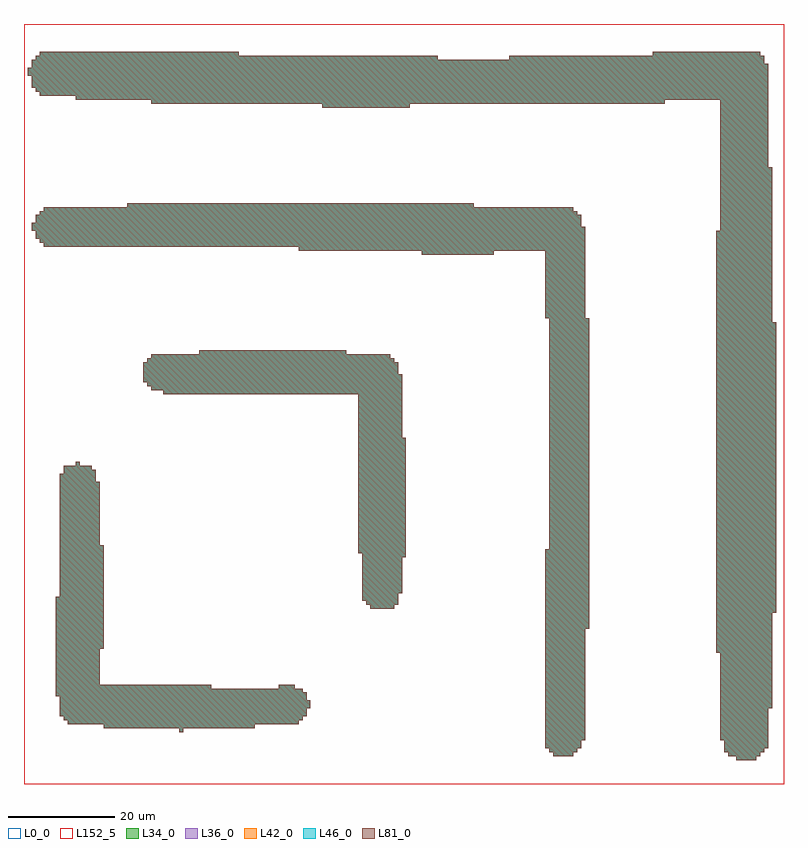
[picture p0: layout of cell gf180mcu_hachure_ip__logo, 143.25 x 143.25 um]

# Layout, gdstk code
import gdstk
lib = gdstk.Library(unit=1e-6, precision=1e-09)
def R(c, l, rs):  # rectangles x0, y0, x1, y1
    for r in rs: c.add(gdstk.rectangle(r[:2], r[2:], *l))
def P(c, l, *ps):  # polygons
    for p in ps: c.add(gdstk.Polygon(p, *l))
L0_0 = (0, 0)
L34_0 = (34, 0)
L36_0 = (36, 0)
L42_0 = (42, 0)
L46_0 = (46, 0)
L81_0 = (81, 0)
L152_5 = (152, 5)

gf180mcu_hachure_ip__log = lib.new_cell('gf180mcu_hachure_ip__logo')
R(gf180mcu_hachure_ip__log, L0_0, [(0,0,143.25,143.25)])
P(gf180mcu_hachure_ip__log, L34_0, [(29.25,9.75),(29.25,10.5),(15,10.5),(15,11.25),(8.25,11.25),(8.25,12),(7.5,12),(7.5,12.75),(6.75,12.75),(6.75,16.5),(6,16.5),(6,35.25),(6.75,35.25),(6.75,58.5),(7.5,58.5),(7.5,60),(9.75,60),(9.75,60.75),(10.5,60.75),(10.5,60),(12.75,60),(12.75,59.25),(13.5,59.25),(13.5,57),(14.25,57),(14.25,45),(15,45),(15,25.5),(14.25,25.5),(14.25,18.75),(35.25,18.75),(35.25,18),(48,18),(48,18.75),(51,18.75),(51,18),(52.5,18),(52.5,17.25),(53.25,17.25),(53.25,15.75),(54,15.75),(54,14.25),(53.25,14.25),(53.25,12.75),(52.5,12.75),(52.5,12),(51.75,12),(51.75,11.25),(43.5,11.25),(43.5,10.5),(30,10.5),(30,9.75)],
  [(65.25,33),(65.25,33.75),(64.5,33.75),(64.5,34.5),(63.75,34.5),(63.75,43.5),(63,43.5),(63,73.5),(26.25,73.5),(26.25,74.25),(24,74.25),(24,75),(23.25,75),(23.25,75.75),(22.5,75.75),(22.5,79.5),(23.25,79.5),(23.25,80.25),(24,80.25),(24,81),(33,81),(33,81.75),(60.75,81.75),(60.75,81),(69,81),(69,80.25),(69.75,80.25),(69.75,79.5),(70.5,79.5),(70.5,77.25),(71.25,77.25),(71.25,65.25),(72,65.25),(72,42.75),(71.25,42.75),(71.25,36),(70.5,36),(70.5,33.75),(69.75,33.75),(69.75,33)],
  [(99.75,5.25),(99.75,6),(99,6),(99,6.75),(98.25,6.75),(98.25,44.25),(99,44.25),(99,87.75),(98.25,87.75),(98.25,100.5),(88.5,100.5),(88.5,99.75),(75,99.75),(75,100.5),(51.75,100.5),(51.75,101.25),(3.75,101.25),(3.75,102),(3,102),(3,102.75),(2.25,102.75),(2.25,104.25),(1.5,104.25),(1.5,105.75),(2.25,105.75),(2.25,107.25),(3,107.25),(3,108),(3.75,108),(3.75,108.75),(19.5,108.75),(19.5,109.5),(84.75,109.5),(84.75,108.75),(103.5,108.75),(103.5,108),(104.25,108),(104.25,107.25),(105,107.25),(105,105),(105.75,105),(105.75,87.75),(106.5,87.75),(106.5,29.25),(105.75,29.25),(105.75,8.25),(105,8.25),(105,6.75),(104.25,6.75),(104.25,6),(103.5,6),(103.5,5.25)],
  [(134.25,4.5),(134.25,5.25),(132.75,5.25),(132.75,6),(132,6),(132,8.25),(131.25,8.25),(131.25,24.75),(130.5,24.75),(130.5,104.25),(131.25,104.25),(131.25,129),(120.75,129),(120.75,128.25),(72.75,128.25),(72.75,127.5),(56.25,127.5),(56.25,128.25),(24,128.25),(24,129),(9.75,129),(9.75,129.75),(3,129.75),(3,130.5),(2.25,130.5),(2.25,131.25),(1.5,131.25),(1.5,133.5),(0.75,133.5),(0.75,135),(1.5,135),(1.5,136.5),(2.25,136.5),(2.25,137.25),(3,137.25),(3,138),(40.5,138),(40.5,137.25),(78,137.25),(78,136.5),(91.5,136.5),(91.5,137.25),(118.5,137.25),(118.5,138),(138.75,138),(138.75,137.25),(139.5,137.25),(139.5,135.75),(140.25,135.75),(140.25,116.25),(141,116.25),(141,87),(141.75,87),(141.75,32.25),(141,32.25),(141,14.25),(140.25,14.25),(140.25,6.75),(139.5,6.75),(139.5,6),(138.75,6),(138.75,5.25),(138,5.25),(138,4.5)])
P(gf180mcu_hachure_ip__log, L36_0, [(29.25,9.75),(29.25,10.5),(15,10.5),(15,11.25),(8.25,11.25),(8.25,12),(7.5,12),(7.5,12.75),(6.75,12.75),(6.75,16.5),(6,16.5),(6,35.25),(6.75,35.25),(6.75,58.5),(7.5,58.5),(7.5,60),(9.75,60),(9.75,60.75),(10.5,60.75),(10.5,60),(12.75,60),(12.75,59.25),(13.5,59.25),(13.5,57),(14.25,57),(14.25,45),(15,45),(15,25.5),(14.25,25.5),(14.25,18.75),(35.25,18.75),(35.25,18),(48,18),(48,18.75),(51,18.75),(51,18),(52.5,18),(52.5,17.25),(53.25,17.25),(53.25,15.75),(54,15.75),(54,14.25),(53.25,14.25),(53.25,12.75),(52.5,12.75),(52.5,12),(51.75,12),(51.75,11.25),(43.5,11.25),(43.5,10.5),(30,10.5),(30,9.75)],
  [(65.25,33),(65.25,33.75),(64.5,33.75),(64.5,34.5),(63.75,34.5),(63.75,43.5),(63,43.5),(63,73.5),(26.25,73.5),(26.25,74.25),(24,74.25),(24,75),(23.25,75),(23.25,75.75),(22.5,75.75),(22.5,79.5),(23.25,79.5),(23.25,80.25),(24,80.25),(24,81),(33,81),(33,81.75),(60.75,81.75),(60.75,81),(69,81),(69,80.25),(69.75,80.25),(69.75,79.5),(70.5,79.5),(70.5,77.25),(71.25,77.25),(71.25,65.25),(72,65.25),(72,42.75),(71.25,42.75),(71.25,36),(70.5,36),(70.5,33.75),(69.75,33.75),(69.75,33)],
  [(99.75,5.25),(99.75,6),(99,6),(99,6.75),(98.25,6.75),(98.25,44.25),(99,44.25),(99,87.75),(98.25,87.75),(98.25,100.5),(88.5,100.5),(88.5,99.75),(75,99.75),(75,100.5),(51.75,100.5),(51.75,101.25),(3.75,101.25),(3.75,102),(3,102),(3,102.75),(2.25,102.75),(2.25,104.25),(1.5,104.25),(1.5,105.75),(2.25,105.75),(2.25,107.25),(3,107.25),(3,108),(3.75,108),(3.75,108.75),(19.5,108.75),(19.5,109.5),(84.75,109.5),(84.75,108.75),(103.5,108.75),(103.5,108),(104.25,108),(104.25,107.25),(105,107.25),(105,105),(105.75,105),(105.75,87.75),(106.5,87.75),(106.5,29.25),(105.75,29.25),(105.75,8.25),(105,8.25),(105,6.75),(104.25,6.75),(104.25,6),(103.5,6),(103.5,5.25)],
  [(134.25,4.5),(134.25,5.25),(132.75,5.25),(132.75,6),(132,6),(132,8.25),(131.25,8.25),(131.25,24.75),(130.5,24.75),(130.5,104.25),(131.25,104.25),(131.25,129),(120.75,129),(120.75,128.25),(72.75,128.25),(72.75,127.5),(56.25,127.5),(56.25,128.25),(24,128.25),(24,129),(9.75,129),(9.75,129.75),(3,129.75),(3,130.5),(2.25,130.5),(2.25,131.25),(1.5,131.25),(1.5,133.5),(0.75,133.5),(0.75,135),(1.5,135),(1.5,136.5),(2.25,136.5),(2.25,137.25),(3,137.25),(3,138),(40.5,138),(40.5,137.25),(78,137.25),(78,136.5),(91.5,136.5),(91.5,137.25),(118.5,137.25),(118.5,138),(138.75,138),(138.75,137.25),(139.5,137.25),(139.5,135.75),(140.25,135.75),(140.25,116.25),(141,116.25),(141,87),(141.75,87),(141.75,32.25),(141,32.25),(141,14.25),(140.25,14.25),(140.25,6.75),(139.5,6.75),(139.5,6),(138.75,6),(138.75,5.25),(138,5.25),(138,4.5)])
P(gf180mcu_hachure_ip__log, L42_0, [(29.25,9.75),(29.25,10.5),(15,10.5),(15,11.25),(8.25,11.25),(8.25,12),(7.5,12),(7.5,12.75),(6.75,12.75),(6.75,16.5),(6,16.5),(6,35.25),(6.75,35.25),(6.75,58.5),(7.5,58.5),(7.5,60),(9.75,60),(9.75,60.75),(10.5,60.75),(10.5,60),(12.75,60),(12.75,59.25),(13.5,59.25),(13.5,57),(14.25,57),(14.25,45),(15,45),(15,25.5),(14.25,25.5),(14.25,18.75),(35.25,18.75),(35.25,18),(48,18),(48,18.75),(51,18.75),(51,18),(52.5,18),(52.5,17.25),(53.25,17.25),(53.25,15.75),(54,15.75),(54,14.25),(53.25,14.25),(53.25,12.75),(52.5,12.75),(52.5,12),(51.75,12),(51.75,11.25),(43.5,11.25),(43.5,10.5),(30,10.5),(30,9.75)],
  [(65.25,33),(65.25,33.75),(64.5,33.75),(64.5,34.5),(63.75,34.5),(63.75,43.5),(63,43.5),(63,73.5),(26.25,73.5),(26.25,74.25),(24,74.25),(24,75),(23.25,75),(23.25,75.75),(22.5,75.75),(22.5,79.5),(23.25,79.5),(23.25,80.25),(24,80.25),(24,81),(33,81),(33,81.75),(60.75,81.75),(60.75,81),(69,81),(69,80.25),(69.75,80.25),(69.75,79.5),(70.5,79.5),(70.5,77.25),(71.25,77.25),(71.25,65.25),(72,65.25),(72,42.75),(71.25,42.75),(71.25,36),(70.5,36),(70.5,33.75),(69.75,33.75),(69.75,33)],
  [(99.75,5.25),(99.75,6),(99,6),(99,6.75),(98.25,6.75),(98.25,44.25),(99,44.25),(99,87.75),(98.25,87.75),(98.25,100.5),(88.5,100.5),(88.5,99.75),(75,99.75),(75,100.5),(51.75,100.5),(51.75,101.25),(3.75,101.25),(3.75,102),(3,102),(3,102.75),(2.25,102.75),(2.25,104.25),(1.5,104.25),(1.5,105.75),(2.25,105.75),(2.25,107.25),(3,107.25),(3,108),(3.75,108),(3.75,108.75),(19.5,108.75),(19.5,109.5),(84.75,109.5),(84.75,108.75),(103.5,108.75),(103.5,108),(104.25,108),(104.25,107.25),(105,107.25),(105,105),(105.75,105),(105.75,87.75),(106.5,87.75),(106.5,29.25),(105.75,29.25),(105.75,8.25),(105,8.25),(105,6.75),(104.25,6.75),(104.25,6),(103.5,6),(103.5,5.25)],
  [(134.25,4.5),(134.25,5.25),(132.75,5.25),(132.75,6),(132,6),(132,8.25),(131.25,8.25),(131.25,24.75),(130.5,24.75),(130.5,104.25),(131.25,104.25),(131.25,129),(120.75,129),(120.75,128.25),(72.75,128.25),(72.75,127.5),(56.25,127.5),(56.25,128.25),(24,128.25),(24,129),(9.75,129),(9.75,129.75),(3,129.75),(3,130.5),(2.25,130.5),(2.25,131.25),(1.5,131.25),(1.5,133.5),(0.75,133.5),(0.75,135),(1.5,135),(1.5,136.5),(2.25,136.5),(2.25,137.25),(3,137.25),(3,138),(40.5,138),(40.5,137.25),(78,137.25),(78,136.5),(91.5,136.5),(91.5,137.25),(118.5,137.25),(118.5,138),(138.75,138),(138.75,137.25),(139.5,137.25),(139.5,135.75),(140.25,135.75),(140.25,116.25),(141,116.25),(141,87),(141.75,87),(141.75,32.25),(141,32.25),(141,14.25),(140.25,14.25),(140.25,6.75),(139.5,6.75),(139.5,6),(138.75,6),(138.75,5.25),(138,5.25),(138,4.5)])
P(gf180mcu_hachure_ip__log, L46_0, [(29.25,9.75),(29.25,10.5),(15,10.5),(15,11.25),(8.25,11.25),(8.25,12),(7.5,12),(7.5,12.75),(6.75,12.75),(6.75,16.5),(6,16.5),(6,35.25),(6.75,35.25),(6.75,58.5),(7.5,58.5),(7.5,60),(9.75,60),(9.75,60.75),(10.5,60.75),(10.5,60),(12.75,60),(12.75,59.25),(13.5,59.25),(13.5,57),(14.25,57),(14.25,45),(15,45),(15,25.5),(14.25,25.5),(14.25,18.75),(35.25,18.75),(35.25,18),(48,18),(48,18.75),(51,18.75),(51,18),(52.5,18),(52.5,17.25),(53.25,17.25),(53.25,15.75),(54,15.75),(54,14.25),(53.25,14.25),(53.25,12.75),(52.5,12.75),(52.5,12),(51.75,12),(51.75,11.25),(43.5,11.25),(43.5,10.5),(30,10.5),(30,9.75)],
  [(65.25,33),(65.25,33.75),(64.5,33.75),(64.5,34.5),(63.75,34.5),(63.75,43.5),(63,43.5),(63,73.5),(26.25,73.5),(26.25,74.25),(24,74.25),(24,75),(23.25,75),(23.25,75.75),(22.5,75.75),(22.5,79.5),(23.25,79.5),(23.25,80.25),(24,80.25),(24,81),(33,81),(33,81.75),(60.75,81.75),(60.75,81),(69,81),(69,80.25),(69.75,80.25),(69.75,79.5),(70.5,79.5),(70.5,77.25),(71.25,77.25),(71.25,65.25),(72,65.25),(72,42.75),(71.25,42.75),(71.25,36),(70.5,36),(70.5,33.75),(69.75,33.75),(69.75,33)],
  [(99.75,5.25),(99.75,6),(99,6),(99,6.75),(98.25,6.75),(98.25,44.25),(99,44.25),(99,87.75),(98.25,87.75),(98.25,100.5),(88.5,100.5),(88.5,99.75),(75,99.75),(75,100.5),(51.75,100.5),(51.75,101.25),(3.75,101.25),(3.75,102),(3,102),(3,102.75),(2.25,102.75),(2.25,104.25),(1.5,104.25),(1.5,105.75),(2.25,105.75),(2.25,107.25),(3,107.25),(3,108),(3.75,108),(3.75,108.75),(19.5,108.75),(19.5,109.5),(84.75,109.5),(84.75,108.75),(103.5,108.75),(103.5,108),(104.25,108),(104.25,107.25),(105,107.25),(105,105),(105.75,105),(105.75,87.75),(106.5,87.75),(106.5,29.25),(105.75,29.25),(105.75,8.25),(105,8.25),(105,6.75),(104.25,6.75),(104.25,6),(103.5,6),(103.5,5.25)],
  [(134.25,4.5),(134.25,5.25),(132.75,5.25),(132.75,6),(132,6),(132,8.25),(131.25,8.25),(131.25,24.75),(130.5,24.75),(130.5,104.25),(131.25,104.25),(131.25,129),(120.75,129),(120.75,128.25),(72.75,128.25),(72.75,127.5),(56.25,127.5),(56.25,128.25),(24,128.25),(24,129),(9.75,129),(9.75,129.75),(3,129.75),(3,130.5),(2.25,130.5),(2.25,131.25),(1.5,131.25),(1.5,133.5),(0.75,133.5),(0.75,135),(1.5,135),(1.5,136.5),(2.25,136.5),(2.25,137.25),(3,137.25),(3,138),(40.5,138),(40.5,137.25),(78,137.25),(78,136.5),(91.5,136.5),(91.5,137.25),(118.5,137.25),(118.5,138),(138.75,138),(138.75,137.25),(139.5,137.25),(139.5,135.75),(140.25,135.75),(140.25,116.25),(141,116.25),(141,87),(141.75,87),(141.75,32.25),(141,32.25),(141,14.25),(140.25,14.25),(140.25,6.75),(139.5,6.75),(139.5,6),(138.75,6),(138.75,5.25),(138,5.25),(138,4.5)])
P(gf180mcu_hachure_ip__log, L81_0, [(29.25,9.75),(29.25,10.5),(15,10.5),(15,11.25),(8.25,11.25),(8.25,12),(7.5,12),(7.5,12.75),(6.75,12.75),(6.75,16.5),(6,16.5),(6,35.25),(6.75,35.25),(6.75,58.5),(7.5,58.5),(7.5,60),(9.75,60),(9.75,60.75),(10.5,60.75),(10.5,60),(12.75,60),(12.75,59.25),(13.5,59.25),(13.5,57),(14.25,57),(14.25,45),(15,45),(15,25.5),(14.25,25.5),(14.25,18.75),(35.25,18.75),(35.25,18),(48,18),(48,18.75),(51,18.75),(51,18),(52.5,18),(52.5,17.25),(53.25,17.25),(53.25,15.75),(54,15.75),(54,14.25),(53.25,14.25),(53.25,12.75),(52.5,12.75),(52.5,12),(51.75,12),(51.75,11.25),(43.5,11.25),(43.5,10.5),(30,10.5),(30,9.75)],
  [(65.25,33),(65.25,33.75),(64.5,33.75),(64.5,34.5),(63.75,34.5),(63.75,43.5),(63,43.5),(63,73.5),(26.25,73.5),(26.25,74.25),(24,74.25),(24,75),(23.25,75),(23.25,75.75),(22.5,75.75),(22.5,79.5),(23.25,79.5),(23.25,80.25),(24,80.25),(24,81),(33,81),(33,81.75),(60.75,81.75),(60.75,81),(69,81),(69,80.25),(69.75,80.25),(69.75,79.5),(70.5,79.5),(70.5,77.25),(71.25,77.25),(71.25,65.25),(72,65.25),(72,42.75),(71.25,42.75),(71.25,36),(70.5,36),(70.5,33.75),(69.75,33.75),(69.75,33)],
  [(99.75,5.25),(99.75,6),(99,6),(99,6.75),(98.25,6.75),(98.25,44.25),(99,44.25),(99,87.75),(98.25,87.75),(98.25,100.5),(88.5,100.5),(88.5,99.75),(75,99.75),(75,100.5),(51.75,100.5),(51.75,101.25),(3.75,101.25),(3.75,102),(3,102),(3,102.75),(2.25,102.75),(2.25,104.25),(1.5,104.25),(1.5,105.75),(2.25,105.75),(2.25,107.25),(3,107.25),(3,108),(3.75,108),(3.75,108.75),(19.5,108.75),(19.5,109.5),(84.75,109.5),(84.75,108.75),(103.5,108.75),(103.5,108),(104.25,108),(104.25,107.25),(105,107.25),(105,105),(105.75,105),(105.75,87.75),(106.5,87.75),(106.5,29.25),(105.75,29.25),(105.75,8.25),(105,8.25),(105,6.75),(104.25,6.75),(104.25,6),(103.5,6),(103.5,5.25)],
  [(134.25,4.5),(134.25,5.25),(132.75,5.25),(132.75,6),(132,6),(132,8.25),(131.25,8.25),(131.25,24.75),(130.5,24.75),(130.5,104.25),(131.25,104.25),(131.25,129),(120.75,129),(120.75,128.25),(72.75,128.25),(72.75,127.5),(56.25,127.5),(56.25,128.25),(24,128.25),(24,129),(9.75,129),(9.75,129.75),(3,129.75),(3,130.5),(2.25,130.5),(2.25,131.25),(1.5,131.25),(1.5,133.5),(0.75,133.5),(0.75,135),(1.5,135),(1.5,136.5),(2.25,136.5),(2.25,137.25),(3,137.25),(3,138),(40.5,138),(40.5,137.25),(78,137.25),(78,136.5),(91.5,136.5),(91.5,137.25),(118.5,137.25),(118.5,138),(138.75,138),(138.75,137.25),(139.5,137.25),(139.5,135.75),(140.25,135.75),(140.25,116.25),(141,116.25),(141,87),(141.75,87),(141.75,32.25),(141,32.25),(141,14.25),(140.25,14.25),(140.25,6.75),(139.5,6.75),(139.5,6),(138.75,6),(138.75,5.25),(138,5.25),(138,4.5)])
R(gf180mcu_hachure_ip__log, L152_5, [(0,0,143.25,143.25)])

lib.write_gds('gf180mcu_hachure_ip__logo.gds')
